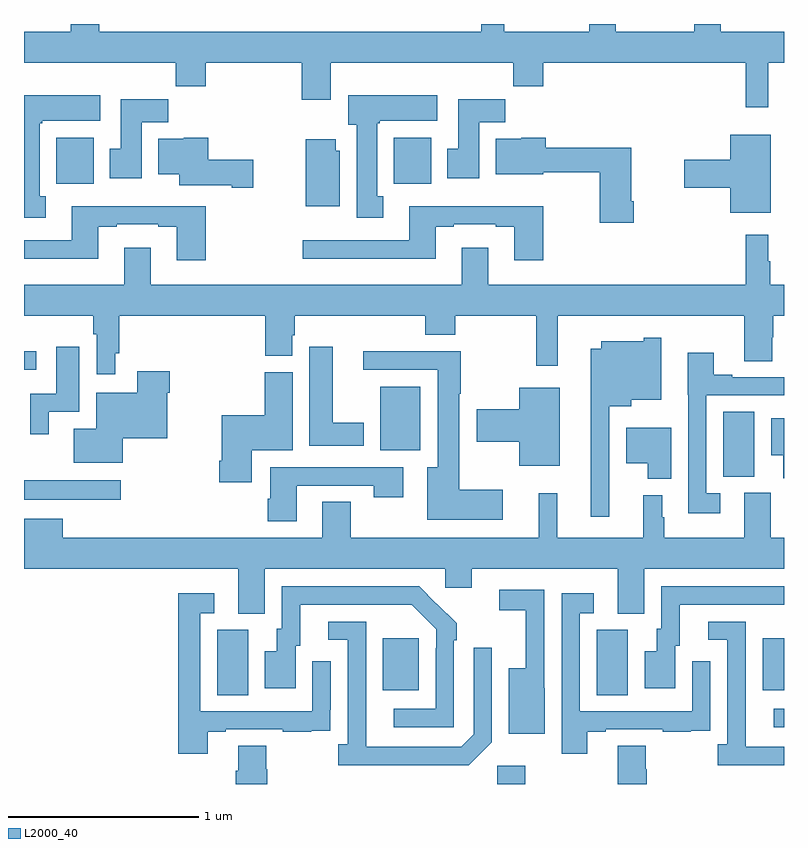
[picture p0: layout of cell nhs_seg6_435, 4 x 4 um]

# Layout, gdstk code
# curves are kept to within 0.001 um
import gdstk
lib = gdstk.Library(unit=1e-6, precision=1e-09)
def R(c, l, rs):  # rectangles x0, y0, x1, y1
    for r in rs: c.add(gdstk.rectangle(r[:2], r[2:], *l))
def P(c, l, *ps):  # polygons
    for p in ps: c.add(gdstk.Polygon(p, *l))
L2000_40 = (2000, 40)

nhs_seg6_435 = lib.new_cell('nhs_seg6_435')
R(nhs_seg6_435, L2000_40, [(137.49,983.5,137.637,983.596), (138.945,983.799,139,983.895), (136.016,983.968,136.18,984.312), (138.014,983.968,138.178,984.312), (136.889,983.993,137.077,984.268), (138.887,983.993,139,984.268), (135,984.995,135.508,985.099), (138.68,985.117,138.844,985.46), (136.874,985.256,137.086,985.591), (135,985.68,135.064,985.778), (135.17,986.66,135.367,986.902), (136.946,986.66,137.143,986.902)])
P(nhs_seg6_435, L2000_40, [(138.917,987.296),(139,987.296),(139,987.46),(138.667,987.46),(138.667,987.5),(138.527,987.5),(138.527,987.46),(138.115,987.46),(138.115,987.5),(137.976,987.5),(137.976,987.46),(137.527,987.46),(137.527,987.5),(137.406,987.5),(137.406,987.46),(135.397,987.46),(135.397,987.5),(135.245,987.5),(135.245,987.46),(135,987.46),(135,987.296),(135.799,987.296),(135.799,987.172),(135.956,987.172),(135.956,987.296),(136.463,987.296),(136.463,987.102),(136.615,987.102),(136.615,987.296),(137.575,987.296),(137.575,987.172),(137.732,987.172),(137.732,987.296),(138.799,987.296),(138.799,987.063),(138.917,987.063)],
  [(136.891,986.594),(136.858,986.594),(136.858,986.977),(136.872,986.977),(136.872,986.99),(137.176,986.99),(137.176,987.124),(136.706,987.124),(136.706,986.97),(136.751,986.97),(136.751,986.481),(136.891,986.481)],
  [(135.115,986.594),(135.082,986.594),(135.082,986.977),(135.096,986.977),(135.096,986.99),(135.4,986.99),(135.4,987.124),(135,987.124),(135,986.481),(135.115,986.481)],
  [(135.619,986.984),(135.758,986.984),(135.758,987.103),(135.509,987.103),(135.509,986.844),(135.452,986.844),(135.452,986.688),(135.619,986.688)],
  [(137.395,986.984),(137.534,986.984),(137.534,987.103),(137.285,987.103),(137.285,986.844),(137.228,986.844),(137.228,986.688),(137.395,986.688)],
  [(138.931,986.917),(138.716,986.917),(138.716,986.786),(138.474,986.786),(138.474,986.639),(138.716,986.639),(138.716,986.507),(138.931,986.507)],
  [(138.209,986.566),(138.196,986.566),(138.196,986.848),(137.747,986.848),(137.747,986.902),(137.616,986.902),(137.616,986.896),(137.483,986.896),(137.483,986.708),(137.734,986.708),(137.734,986.719),(138.031,986.719),(138.031,986.454),(138.209,986.454)],
  [(136.207,986.786),(135.971,986.786),(135.971,986.902),(135.84,986.902),(135.84,986.896),(135.707,986.896),(135.707,986.708),(135.818,986.708),(135.818,986.651),(136.094,986.651),(136.094,986.639),(136.207,986.639)],
  [(136.663,986.832),(136.642,986.832),(136.642,986.893),(136.484,986.893),(136.484,986.54),(136.663,986.54)],
  [(135.956,986.542),(135.251,986.542),(135.251,986.361),(135,986.361),(135,986.264),(135.391,986.264),(135.391,986.433),(135.487,986.433),(135.487,986.445),(135.707,986.445),(135.707,986.433),(135.803,986.433),(135.803,986.256),(135.956,986.256)],
  [(137.732,986.542),(137.027,986.542),(137.027,986.361),(136.467,986.361),(136.467,986.264),(137.167,986.264),(137.167,986.433),(137.263,986.433),(137.263,986.445),(137.483,986.445),(137.483,986.433),(137.579,986.433),(137.579,986.256),(137.732,986.256)],
  [(135.48,985.768),(135.5,985.768),(135.5,985.964),(136.271,985.964),(136.271,985.753),(136.411,985.753),(136.411,985.863),(136.424,985.863),(136.424,985.964),(137.111,985.964),(137.111,985.865),(137.271,985.865),(137.271,985.964),(137.697,985.964),(137.697,985.701),(137.808,985.701),(137.808,985.964),(138.791,985.964),(138.791,985.726),(138.939,985.726),(138.939,985.851),(138.944,985.851),(138.944,985.964),(139,985.964),(139,986.128),(138.928,986.128),(138.928,986.252),(138.916,986.252),(138.916,986.392),(138.799,986.392),(138.799,986.128),(137.443,986.128),(137.443,986.323),(137.303,986.323),(137.303,986.128),(135.667,986.128),(135.667,986.323),(135.527,986.323),(135.527,986.128),(135,986.128),(135,985.964),(135.364,985.964),(135.364,985.868),(135.384,985.868),(135.384,985.656),(135.48,985.656)],
  [(138.081,985.487),(138.196,985.487),(138.196,985.523),(138.355,985.523),(138.355,985.849),(138.261,985.849),(138.261,985.831),(138.038,985.831),(138.038,985.792),(137.984,985.792),(137.984,984.906),(138.081,984.906)],
  [(136.789,985.402),(136.624,985.402),(136.624,985.801),(136.502,985.801),(136.502,985.28),(136.789,985.28)],
  [(135.13,985.458),(135.292,985.458),(135.292,985.801),(135.17,985.801),(135.17,985.554),(135.032,985.554),(135.032,985.341),(135.13,985.341)],
  [(137.521,985.048),(137.29,985.048),(137.29,985.555),(137.298,985.555),(137.298,985.778),(136.785,985.778),(136.785,985.68),(137.177,985.68),(137.177,985.168),(137.123,985.168),(137.123,984.89),(137.521,984.89)],
  [(138.664,985.029),(138.591,985.029),(138.591,985.545),(139,985.545),(139,985.641),(138.727,985.641),(138.727,985.654),(138.631,985.654),(138.631,985.771),(138.494,985.771),(138.494,985.548),(138.495,985.548),(138.495,984.924),(138.664,984.924)],
  [(135.52,985.319),(135.754,985.319),(135.754,985.559),(135.767,985.559),(135.767,985.672),(135.596,985.672),(135.596,985.558),(135.38,985.558),(135.38,985.369),(135.263,985.369),(135.263,985.19),(135.52,985.19)],
  [(136.198,985.256),(136.414,985.256),(136.414,985.668),(136.268,985.668),(136.268,985.441),(136.04,985.441),(136.04,985.201),(136.028,985.201),(136.028,985.089),(136.198,985.089)],
  [(137.821,985.585),(137.606,985.585),(137.606,985.472),(137.382,985.472),(137.382,985.301),(137.606,985.301),(137.606,985.175),(137.821,985.175)],
  [(139,985.426),(138.932,985.426),(138.932,985.229),(138.995,985.229),(138.995,985.11),(139,985.11)],
  [(138.406,985.375),(138.17,985.375),(138.17,985.187),(138.284,985.187),(138.284,985.106),(138.406,985.106)],
  [(136.435,985.071),(136.84,985.071),(136.84,985.008),(136.996,985.008),(136.996,985.167),(136.295,985.167),(136.295,985.001),(136.283,985.001),(136.283,984.882),(136.435,984.882)],
  [(138.125,984.397),(138.265,984.397),(138.265,984.632),(139,984.632),(139,984.796),(138.931,984.796),(138.931,985.032),(138.791,985.032),(138.791,984.796),(138.37,984.796),(138.37,984.903),(138.358,984.903),(138.358,985.021),(138.26,985.021),(138.26,984.796),(137.807,984.796),(137.807,985.03),(137.708,985.03),(137.708,984.796),(136.719,984.796),(136.719,984.986),(136.571,984.986),(136.571,984.796),(135.205,984.796),(135.205,984.895),(135,984.895),(135,984.632),(136.127,984.632),(136.127,984.397),(136.267,984.397),(136.267,984.632),(137.217,984.632),(137.217,984.534),(137.356,984.534),(137.356,984.632),(138.125,984.632)],
  [(137.262,984.257),(137.277,984.257),(137.277,984.345),(137.08,984.54),(136.356,984.54),(136.356,984.318),(136.331,984.318),(136.331,984.199),(136.268,984.199),(136.268,984.003),(136.429,984.003),(136.429,984.228),(136.453,984.228),(136.453,984.444),(137.041,984.444),(137.169,984.315),(137.169,984.215),(137.166,984.215),(137.166,983.895),(136.947,983.895),(136.947,983.799),(137.262,983.799)],
  [(138.427,984.228),(138.451,984.228),(138.451,984.444),(139,984.444),(139,984.54),(138.354,984.54),(138.354,984.318),(138.329,984.318),(138.329,984.199),(138.266,984.199),(138.266,984.003),(138.427,984.003)],
  [(137.74,984.005),(137.739,984.005),(137.739,984.522),(137.502,984.522),(137.502,984.414),(137.642,984.414),(137.642,984.109),(137.552,984.109),(137.552,983.765),(137.74,983.765)],
  [(137.965,983.775),(138.061,983.775),(138.061,983.787),(138.361,983.787),(138.361,983.775),(138.509,983.775),(138.509,983.781),(138.611,983.781),(138.611,983.89),(138.612,983.89),(138.612,984.145),(138.516,984.145),(138.516,983.883),(137.925,983.883),(137.925,984.399),(137.998,984.399),(137.998,984.505),(137.829,984.505),(137.829,983.658),(137.965,983.658)],
  [(135.967,983.775),(136.063,983.775),(136.063,983.787),(136.363,983.787),(136.363,983.775),(136.511,983.775),(136.511,983.781),(136.613,983.781),(136.613,983.89),(136.614,983.89),(136.614,984.145),(136.518,984.145),(136.518,983.883),(135.927,983.883),(135.927,984.399),(136,984.399),(136,984.505),(135.811,984.505),(135.811,983.658),(135.967,983.658)],
  [(139,983.697),(138.799,983.697),(138.799,983.897),(138.798,983.897),(138.798,984.354),(138.6,984.354),(138.6,984.258),(138.702,984.258),(138.702,983.71),(138.651,983.71),(138.651,983.6),(139,983.6)],
  [(137.463,983.721),(137.463,984.217),(137.367,984.217),(137.367,983.763),(137.301,983.697),(136.801,983.697),(136.8,984.354),(136.602,984.354),(136.602,984.258),(136.704,984.258),(136.704,983.71),(136.653,983.71),(136.653,983.6),(137.342,983.6)],
  [(136.28,983.577),(136.275,983.577),(136.275,983.702),(136.127,983.702),(136.127,983.57),(136.115,983.57),(136.115,983.5),(136.28,983.5)],
  [(138.278,983.577),(138.273,983.577),(138.273,983.702),(138.125,983.702),(138.125,983.5),(138.278,983.5)])

lib.write_gds('nhs_seg6_435.gds')
